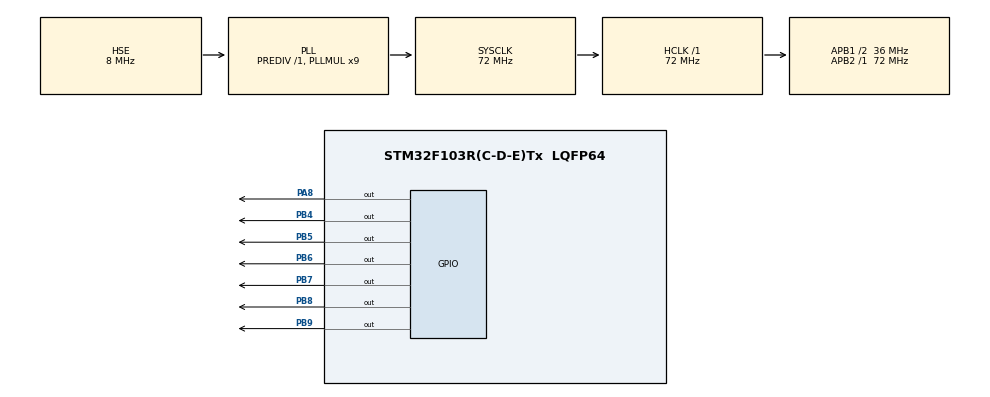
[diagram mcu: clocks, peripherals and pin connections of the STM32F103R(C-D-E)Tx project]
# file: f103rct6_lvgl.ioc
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Mcu.Family=STM32F1
Mcu.Name=STM32F103R(C-D-E)Tx
Mcu.Package=LQFP64
NVIC.PriorityGroup=NVIC_PRIORITYGROUP_4
NVIC.TIM6_IRQn=true\:0\:0\:false\:false\:true\:true\:true\:true
PA13.Mode=Serial_Wire
PA13.Signal=SYS_JTMS-SWDIO
PA14.Mode=Serial_Wire
PA14.Signal=SYS_JTCK-SWCLK
PA8.GPIO_PuPd=GPIO_PULLUP
PA8.GPIO_Speed=GPIO_SPEED_FREQ_HIGH
PA8.Signal=GPIO_Output
PB4.GPIO_ModeDefaultOutputPP=GPIO_MODE_OUTPUT_PP
PB4.GPIO_Speed=GPIO_SPEED_FREQ_HIGH
PB4.Signal=GPIO_Output
PB5.GPIO_Speed=GPIO_SPEED_FREQ_HIGH
PB5.Signal=GPIO_Output
PB6.GPIO_Speed=GPIO_SPEED_FREQ_HIGH
PB6.Signal=GPIO_Output
PB7.GPIO_Speed=GPIO_SPEED_FREQ_HIGH
PB7.Signal=GPIO_Output
PB8.GPIO_Speed=GPIO_SPEED_FREQ_HIGH
PB8.Signal=GPIO_Output
PB9.GPIO_Speed=GPIO_SPEED_FREQ_HIGH
PB9.Signal=GPIO_Output
PC14-OSC32_IN.Mode=LSE-External-Oscillator
PC14-OSC32_IN.Signal=RCC_OSC32_IN
PC15-OSC32_OUT.Mode=LSE-External-Oscillator
PC15-OSC32_OUT.Signal=RCC_OSC32_OUT
PD0-OSC_IN.Mode=HSE-External-Oscillator
PD0-OSC_IN.Signal=RCC_OSC_IN
PD1-OSC_OUT.Mode=HSE-External-Oscillator
PD1-OSC_OUT.Signal=RCC_OSC_OUT
ProjectManager.HeapSize=0x1000
ProjectManager.StackSize=0x1000
ProjectManager.TargetToolchain=MDK-ARM V5.32
RCC.AHBFreq_Value=72000000
RCC.APB1CLKDivider=RCC_HCLK_DIV2
RCC.APB1Freq_Value=36000000
RCC.APB1TimFreq_Value=72000000
RCC.APB2Freq_Value=72000000
RCC.APB2TimFreq_Value=72000000
RCC.HCLKFreq_Value=72000000
RCC.PLLMUL=RCC_PLL_MUL9
RCC.PLLSourceVirtual=RCC_PLLSOURCE_HSE
RCC.SYSCLKFreq_VALUE=72000000
RCC.SYSCLKSource=RCC_SYSCLKSOURCE_PLLCLK
RCC.USBFreq_Value=72000000
TIM6.AutoReloadPreload=TIM_AUTORELOAD_PRELOAD_ENABLE
TIM6.Period=1000-1
TIM6.Prescaler=72-1
VP_TIM6_VS_ClockSourceINT.Mode=Enable_Timer
board=custom

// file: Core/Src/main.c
/* USER CODE BEGIN Header */
/**
  ******************************************************************************
  * @file           : main.c
  * @brief          : Main program body
  ******************************************************************************
  * @attention
  *
  * Copyright (c) 2024 STMicroelectronics.
  * All rights reserved.
  *
  * This software is licensed under terms that can be found in the LICENSE file
  * in the root directory of this software component.
  * If no LICENSE file comes with this software, it is provided AS-IS.
  *
  ******************************************************************************
  */
/* USER CODE END Header */
#include "main.h"
#include "tim.h"
#include "gpio.h"

/* USER CODE BEGIN Includes */
#include "lcd_init.h"
#include "lcd.h"
#include "lvgl.h"                // ???ä¸???´ä¸?LVGL?��ä??ä????´?????´ç¹??¤´???ä?????ç?¨
#include "lv_port_disp.h"        // LVGLç¹????ç¤????????
#include "lv_port_indev.h"       // LVGLç¹??§???�????????
#include "ui.h"
/* USER CODE END Includes */

void SystemClock_Config(void);

int main(void)
{

  /* MCU Configuration--------------------------------------------------------*/

  /* Reset of all peripherals, Initializes the Flash interface and the Systick. */
  HAL_Init();

  /* Configure the system clock */
  SystemClock_Config();

  /* Initialize all configured peripherals */
  MX_GPIO_Init();
  MX_TIM6_Init();
  /* USER CODE BEGIN 2 */
  LCD_Init();
  LCD_Fill(0,0,LCD_W,LCD_H,WHITE);

  lv_init();
  lv_port_disp_init();
	lv_port_indev_init();
  HAL_TIM_Base_Start_IT(&htim6);

  lv_obj_clean(lv_layer_top());

  create_ui_static();
  create_ui_dynamic();
  /* USER CODE END 2 */

  /* Infinite loop */
  while (1)
  {
    /* USER CODE BEGIN 3 */
    HAL_Delay(5);
    lv_timer_handler();
  }
  /* USER CODE END 3 */
}

void SystemClock_Config(void)
{
  RCC_OscInitTypeDef RCC_OscInitStruct = {0};
  RCC_ClkInitTypeDef RCC_ClkInitStruct = {0};

  /** Initializes the RCC Oscillators according to the specified parameters
  * in the RCC_OscInitTypeDef structure.
  */
  RCC_OscInitStruct.OscillatorType = RCC_OSCILLATORTYPE_HSE;
  RCC_OscInitStruct.HSEState = RCC_HSE_ON;
  RCC_OscInitStruct.HSEPredivValue = RCC_HSE_PREDIV_DIV1;
  RCC_OscInitStruct.HSIState = RCC_HSI_ON;
  RCC_OscInitStruct.PLL.PLLState = RCC_PLL_ON;
  RCC_OscInitStruct.PLL.PLLSource = RCC_PLLSOURCE_HSE;
  RCC_OscInitStruct.PLL.PLLMUL = RCC_PLL_MUL9;
  if (HAL_RCC_OscConfig(&RCC_OscInitStruct) != HAL_OK)
  {
    Error_Handler();
  }

  /** Initializes the CPU, AHB and APB buses clocks
  */
  RCC_ClkInitStruct.ClockType = RCC_CLOCKTYPE_HCLK|RCC_CLOCKTYPE_SYSCLK
                              |RCC_CLOCKTYPE_PCLK1|RCC_CLOCKTYPE_PCLK2;
  RCC_ClkInitStruct.SYSCLKSource = RCC_SYSCLKSOURCE_PLLCLK;
  RCC_ClkInitStruct.AHBCLKDivider = RCC_SYSCLK_DIV1;
  RCC_ClkInitStruct.APB1CLKDivider = RCC_HCLK_DIV2;
  RCC_ClkInitStruct.APB2CLKDivider = RCC_HCLK_DIV1;

  if (HAL_RCC_ClockConfig(&RCC_ClkInitStruct, FLASH_LATENCY_2) != HAL_OK)
  {
    Error_Handler();
  }
}

/* USER CODE BEGIN 4 */
void HAL_TIM_PeriodElapsedCallback(TIM_HandleTypeDef *htim)
{
  if (htim->Instance == TIM6)
  {
    lv_tick_inc(1);
  }
}
/* USER CODE END 4 */

void Error_Handler(void)
{
  __disable_irq();
  while (1)
  {
  }
}
